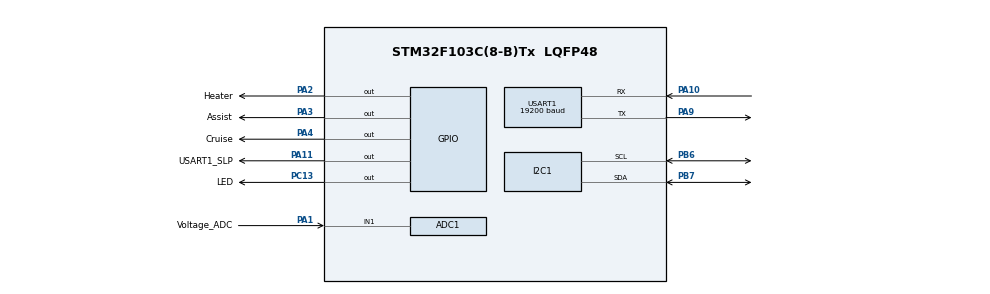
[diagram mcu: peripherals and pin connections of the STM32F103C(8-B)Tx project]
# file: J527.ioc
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ADC1.Channel-0\#ChannelRegularConversion=ADC_CHANNEL_1
ADC1.ContinuousConvMode=DISABLE
ADC1.NbrOfConversion=1
ADC1.NbrOfConversionFlag=1
ADC1.Rank-0\#ChannelRegularConversion=1
ADC1.SamplingTime-0\#ChannelRegularConversion=ADC_SAMPLETIME_239CYCLES_5
ADC1.master=1
Dma.ADC1.0.Direction=DMA_PERIPH_TO_MEMORY
Dma.ADC1.0.Instance=DMA1_Channel1
Dma.ADC1.0.MemDataAlignment=DMA_MDATAALIGN_HALFWORD
Dma.ADC1.0.MemInc=DMA_MINC_ENABLE
Dma.ADC1.0.Mode=DMA_NORMAL
Dma.ADC1.0.PeriphDataAlignment=DMA_PDATAALIGN_HALFWORD
Dma.ADC1.0.PeriphInc=DMA_PINC_DISABLE
Dma.ADC1.0.Priority=DMA_PRIORITY_LOW
Dma.Request0=ADC1
IWDG.Prescaler=IWDG_PRESCALER_32
IWDG.Reload=1000
Mcu.Family=STM32F1
Mcu.Name=STM32F103C(8-B)Tx
Mcu.Package=LQFP48
NVIC.ADC1_2_IRQn=true\:0\:0\:false\:false\:true\:true\:true\:true
NVIC.DMA1_Channel1_IRQn=true\:0\:0\:false\:false\:true\:false\:true\:true
NVIC.PriorityGroup=NVIC_PRIORITYGROUP_4
NVIC.TIM3_IRQn=true\:0\:0\:false\:false\:true\:true\:true\:true
NVIC.USART1_IRQn=true\:0\:0\:false\:false\:true\:true\:true\:true
PA1.GPIO_Label=Voltage_ADC
PA1.Signal=ADCx_IN1
PA10.Mode=LIN
PA10.Signal=USART1_RX
PA11.GPIO_Label=USART1_SLP
PA11.Signal=GPIO_Output
PA13.Signal=SYS_JTMS-SWDIO
PA2.GPIO_Label=Heater
PA2.Signal=GPIO_Output
PA3.GPIO_Label=Assist
PA3.Signal=GPIO_Output
PA4.GPIO_Label=Cruise
PA4.Signal=GPIO_Output
PA9.Mode=LIN
PA9.Signal=USART1_TX
PB6.Mode=I2C
PB6.Signal=I2C1_SCL
PB7.Mode=I2C
PB7.Signal=I2C1_SDA
PC13-TAMPER-RTC.GPIO_Label=LED
PC13-TAMPER-RTC.Signal=GPIO_Output
ProjectManager.HeapSize=0x200
ProjectManager.StackSize=0x400
ProjectManager.TargetToolchain=MDK-ARM V5.32
RCC.APB1Freq_Value=8000000
RCC.APB2Freq_Value=8000000
SH.ADCx_IN1.0=ADC1_IN1,IN1
TIM3.Period=1000
TIM3.Prescaler=79
USART1.BaudRate=19200
USART1.BreakDetectLength=UART_LINBREAKDETECTLENGTH_11B
USART1.VirtualMode=VM_ASYNC
VP_IWDG_VS_IWDG.Mode=IWDG_Activate
VP_SYS_VS_ND.Mode=No_Debug
VP_TIM3_VS_ClockSourceINT.Mode=Internal
board=custom

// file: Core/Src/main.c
/* USER CODE BEGIN Header */
/**
  ******************************************************************************
  * @file           : main.c
  * @brief          : Main program body
  ******************************************************************************
  * @attention
  *
  * Copyright (c) 2023 STMicroelectronics.
  * All rights reserved.
  *
  * This software is licensed under terms that can be found in the LICENSE file
  * in the root directory of this software component.
  * If no LICENSE file comes with this software, it is provided AS-IS.
  *
  ******************************************************************************
  */

	//Voltage = ADC * 0.0064 - 1.4351
/* USER CODE END Header */
#include "main.h"

ADC_HandleTypeDef hadc1;
DMA_HandleTypeDef hdma_adc1;

I2C_HandleTypeDef hi2c1;

IWDG_HandleTypeDef hiwdg;

TIM_HandleTypeDef htim3;

UART_HandleTypeDef huart1;

/* USER CODE BEGIN PV */
uint16_t adcData[1];
float voltage = 0.0;

uint8_t voltageState = 0;
uint8_t assistState = 0;
uint8_t cruiseState = 0;
uint8_t heaterState = 0;
uint8_t heaterPreviousState = 0;

uint8_t measurement = 0;
uint16_t adcValues[MEAS_NUM];

uint8_t heaterRequest = 0;

uint8_t buttonData[9];

uint8_t readData[1];
uint8_t writeData[1];

uint16_t devAddr = (0x50 << 1);
uint16_t memAddr = 0x0000;
HAL_StatusTypeDef status;
/* USER CODE END PV */

void SystemClock_Config(void);
static void MX_GPIO_Init(void);
static void MX_DMA_Init(void);
static void MX_ADC1_Init(void);
static void MX_I2C1_Init(void);
static void MX_USART1_UART_Init(void);
static void MX_TIM3_Init(void);
static void MX_IWDG_Init(void);
/* USER CODE BEGIN PFP */
void writePins(void);
/* USER CODE END PFP */

/* USER CODE BEGIN 0 */
LIN_State slaveState = LIN_RECEIVING_BREAK;
/* USER CODE END 0 */

int main(void)
{

  /* MCU Configuration--------------------------------------------------------*/

  /* Reset of all peripherals, Initializes the Flash interface and the Systick. */
  HAL_Init();

  /* Configure the system clock */
  SystemClock_Config();

  /* Initialize all configured peripherals */
  MX_GPIO_Init();
  MX_DMA_Init();
  MX_ADC1_Init();
  MX_I2C1_Init();
  MX_USART1_UART_Init();
  MX_TIM3_Init();
  MX_IWDG_Init();
  /* USER CODE BEGIN 2 */
	HAL_TIM_Base_Start_IT(&htim3);
	HAL_ADC_Start_DMA(&hadc1, (uint32_t*)adcData, 1);

	HAL_GPIO_WritePin(USART1_SLP_GPIO_Port, USART1_SLP_Pin, GPIO_PIN_SET);

	__HAL_UART_ENABLE_IT(&huart1, UART_IT_LBD);

	uint8_t tempReadData[1];
	HAL_I2C_Mem_Read(&hi2c1, devAddr, memAddr, I2C_MEMADD_SIZE_16BIT, (uint8_t*)tempReadData, 1, HAL_MAX_DELAY);
	heaterRequest = tempReadData[0];

  /* USER CODE END 2 */

  /* Infinite loop */
  /* USER CODE BEGIN WHILE */
  while (1)
  {
	writePins();
    /* USER CODE END WHILE */

  }
}

void SystemClock_Config(void)
{
  RCC_OscInitTypeDef RCC_OscInitStruct = {0};
  RCC_ClkInitTypeDef RCC_ClkInitStruct = {0};
  RCC_PeriphCLKInitTypeDef PeriphClkInit = {0};

  /** Initializes the RCC Oscillators according to the specified parameters
  * in the RCC_OscInitTypeDef structure.
  */
  RCC_OscInitStruct.OscillatorType = RCC_OSCILLATORTYPE_HSI|RCC_OSCILLATORTYPE_LSI;
  RCC_OscInitStruct.HSIState = RCC_HSI_ON;
  RCC_OscInitStruct.HSICalibrationValue = RCC_HSICALIBRATION_DEFAULT;
  RCC_OscInitStruct.LSIState = RCC_LSI_ON;
  RCC_OscInitStruct.PLL.PLLState = RCC_PLL_NONE;
  if (HAL_RCC_OscConfig(&RCC_OscInitStruct) != HAL_OK)
  {
    Error_Handler();
  }

  /** Initializes the CPU, AHB and APB buses clocks
  */
  RCC_ClkInitStruct.ClockType = RCC_CLOCKTYPE_HCLK|RCC_CLOCKTYPE_SYSCLK
                              |RCC_CLOCKTYPE_PCLK1|RCC_CLOCKTYPE_PCLK2;
  RCC_ClkInitStruct.SYSCLKSource = RCC_SYSCLKSOURCE_HSI;
  RCC_ClkInitStruct.AHBCLKDivider = RCC_SYSCLK_DIV1;
  RCC_ClkInitStruct.APB1CLKDivider = RCC_HCLK_DIV1;
  RCC_ClkInitStruct.APB2CLKDivider = RCC_HCLK_DIV1;

  if (HAL_RCC_ClockConfig(&RCC_ClkInitStruct, FLASH_LATENCY_0) != HAL_OK)
  {
    Error_Handler();
  }
  PeriphClkInit.PeriphClockSelection = RCC_PERIPHCLK_ADC;
  PeriphClkInit.AdcClockSelection = RCC_ADCPCLK2_DIV2;
  if (HAL_RCCEx_PeriphCLKConfig(&PeriphClkInit) != HAL_OK)
  {
    Error_Handler();
  }
}

static void MX_ADC1_Init(void)
{

  ADC_ChannelConfTypeDef sConfig = {0};

  /** Common config
  */
  hadc1.Instance = ADC1;
  hadc1.Init.ScanConvMode = ADC_SCAN_DISABLE;
  hadc1.Init.ContinuousConvMode = DISABLE;
  hadc1.Init.DiscontinuousConvMode = DISABLE;
  hadc1.Init.ExternalTrigConv = ADC_SOFTWARE_START;
  hadc1.Init.DataAlign = ADC_DATAALIGN_RIGHT;
  hadc1.Init.NbrOfConversion = 1;
  if (HAL_ADC_Init(&hadc1) != HAL_OK)
  {
    Error_Handler();
  }

  /** Configure Regular Channel
  */
  sConfig.Channel = ADC_CHANNEL_1;
  sConfig.Rank = ADC_REGULAR_RANK_1;
  sConfig.SamplingTime = ADC_SAMPLETIME_239CYCLES_5;
  if (HAL_ADC_ConfigChannel(&hadc1, &sConfig) != HAL_OK)
  {
    Error_Handler();
  }

}

static void MX_I2C1_Init(void)
{

  hi2c1.Instance = I2C1;
  hi2c1.Init.ClockSpeed = 100000;
  hi2c1.Init.DutyCycle = I2C_DUTYCYCLE_2;
  hi2c1.Init.OwnAddress1 = 0;
  hi2c1.Init.AddressingMode = I2C_ADDRESSINGMODE_7BIT;
  hi2c1.Init.DualAddressMode = I2C_DUALADDRESS_DISABLE;
  hi2c1.Init.OwnAddress2 = 0;
  hi2c1.Init.GeneralCallMode = I2C_GENERALCALL_DISABLE;
  hi2c1.Init.NoStretchMode = I2C_NOSTRETCH_DISABLE;
  if (HAL_I2C_Init(&hi2c1) != HAL_OK)
  {
    Error_Handler();
  }

}

static void MX_IWDG_Init(void)
{

  hiwdg.Instance = IWDG;
  hiwdg.Init.Prescaler = IWDG_PRESCALER_32;
  hiwdg.Init.Reload = 1000;
  if (HAL_IWDG_Init(&hiwdg) != HAL_OK)
  {
    Error_Handler();
  }

}

static void MX_TIM3_Init(void)
{

  TIM_ClockConfigTypeDef sClockSourceConfig = {0};
  TIM_MasterConfigTypeDef sMasterConfig = {0};

  htim3.Instance = TIM3;
  htim3.Init.Prescaler = 79;
  htim3.Init.CounterMode = TIM_COUNTERMODE_UP;
  htim3.Init.Period = 1000;
  htim3.Init.ClockDivision = TIM_CLOCKDIVISION_DIV1;
  htim3.Init.AutoReloadPreload = TIM_AUTORELOAD_PRELOAD_DISABLE;
  if (HAL_TIM_Base_Init(&htim3) != HAL_OK)
  {
    Error_Handler();
  }
  sClockSourceConfig.ClockSource = TIM_CLOCKSOURCE_INTERNAL;
  if (HAL_TIM_ConfigClockSource(&htim3, &sClockSourceConfig) != HAL_OK)
  {
    Error_Handler();
  }
  sMasterConfig.MasterOutputTrigger = TIM_TRGO_RESET;
  sMasterConfig.MasterSlaveMode = TIM_MASTERSLAVEMODE_DISABLE;
  if (HAL_TIMEx_MasterConfigSynchronization(&htim3, &sMasterConfig) != HAL_OK)
  {
    Error_Handler();
  }

}

static void MX_USART1_UART_Init(void)
{

  huart1.Instance = USART1;
  huart1.Init.BaudRate = 19200;
  huart1.Init.WordLength = UART_WORDLENGTH_8B;
  huart1.Init.StopBits = UART_STOPBITS_1;
  huart1.Init.Parity = UART_PARITY_NONE;
  huart1.Init.Mode = UART_MODE_TX_RX;
  huart1.Init.HwFlowCtl = UART_HWCONTROL_NONE;
  if (HAL_LIN_Init(&huart1, UART_LINBREAKDETECTLENGTH_11B) != HAL_OK)
  {
    Error_Handler();
  }

}

static void MX_DMA_Init(void)
{

  /* DMA controller clock enable */
  __HAL_RCC_DMA1_CLK_ENABLE();

  /* DMA interrupt init */
  /* DMA1_Channel1_IRQn interrupt configuration */
  HAL_NVIC_SetPriority(DMA1_Channel1_IRQn, 0, 0);
  HAL_NVIC_EnableIRQ(DMA1_Channel1_IRQn);

}

static void MX_GPIO_Init(void)
{
  GPIO_InitTypeDef GPIO_InitStruct = {0};

  /* GPIO Ports Clock Enable */
  __HAL_RCC_GPIOC_CLK_ENABLE();
  __HAL_RCC_GPIOA_CLK_ENABLE();
  __HAL_RCC_GPIOB_CLK_ENABLE();

  /*Configure GPIO pin Output Level */
  HAL_GPIO_WritePin(LED_GPIO_Port, LED_Pin, GPIO_PIN_RESET);

  /*Configure GPIO pin Output Level */
  HAL_GPIO_WritePin(GPIOA, Heater_Pin|Assist_Pin|Cruise_Pin|USART1_SLP_Pin, GPIO_PIN_RESET);

  /*Configure GPIO pin : LED_Pin */
  GPIO_InitStruct.Pin = LED_Pin;
  GPIO_InitStruct.Mode = GPIO_MODE_OUTPUT_PP;
  GPIO_InitStruct.Pull = GPIO_NOPULL;
  GPIO_InitStruct.Speed = GPIO_SPEED_FREQ_LOW;
  HAL_GPIO_Init(LED_GPIO_Port, &GPIO_InitStruct);

  /*Configure GPIO pins : Heater_Pin Assist_Pin Cruise_Pin USART1_SLP_Pin */
  GPIO_InitStruct.Pin = Heater_Pin|Assist_Pin|Cruise_Pin|USART1_SLP_Pin;
  GPIO_InitStruct.Mode = GPIO_MODE_OUTPUT_PP;
  GPIO_InitStruct.Pull = GPIO_NOPULL;
  GPIO_InitStruct.Speed = GPIO_SPEED_FREQ_LOW;
  HAL_GPIO_Init(GPIOA, &GPIO_InitStruct);

}

/* USER CODE BEGIN 4 */
void HAL_ADC_ConvCpltCallback(ADC_HandleTypeDef* hadc)
{
  if(hadc->Instance == ADC1)
  {
		adcValues[measurement] = HAL_ADC_GetValue(&hadc1);

		if (measurement < MEAS_NUM - 1)
		{
			measurement++;
		}

		else
		{
			uint32_t sum = 0;
			for (int i = 0; i < MEAS_NUM; i++)
			{
				sum += (uint32_t)adcValues[i];
			}
			voltage = sum / MEAS_NUM * 0.0064 - 1.3651;
			measurement = 0;
		}
			if (voltage > enableVoltage)
				{
					voltageState = 1;
				}

			if (voltage < disableVoltage)
			{
				voltageState = 0;
			}
		}
  }

void HAL_TIM_PeriodElapsedCallback(TIM_HandleTypeDef *htim)
{
    if (htim->Instance == TIM3)
    {
        HAL_ADC_Start_DMA(&hadc1, (uint32_t*)adcData, 1);
    }
}

void writePins(void)
{
	if (cruiseState)
	{
		HAL_GPIO_WritePin(Cruise_GPIO_Port, Cruise_Pin, GPIO_PIN_SET);
	} else
	{
		HAL_GPIO_WritePin(Cruise_GPIO_Port, Cruise_Pin, GPIO_PIN_RESET);
	}

	if (assistState)
	{
		HAL_GPIO_WritePin(Assist_GPIO_Port, Assist_Pin, GPIO_PIN_SET);
	} else
	{
		HAL_GPIO_WritePin(Assist_GPIO_Port, Assist_Pin, GPIO_PIN_RESET);
	}

	if (heaterRequest && voltageState)
	{
		HAL_GPIO_WritePin(Heater_GPIO_Port, Heater_Pin, GPIO_PIN_SET);
	} else
	{
		HAL_GPIO_WritePin(Heater_GPIO_Port, Heater_Pin, GPIO_PIN_RESET);
	}
}

void decodeButtonData(void)
{
	switch(buttonData[1]) {
		case CRUISE_ID: cruiseState = 1;
										assistState = 0;
										heaterPreviousState = heaterState;
										heaterState = 0;
										break;
		case ASSIST_ID: cruiseState = 0;
										assistState = 1;
										heaterPreviousState = heaterState;
										heaterState = 0;
										break;
		case HEATER_ID: cruiseState = 0;
										assistState = 0;
										heaterPreviousState = heaterState;
										heaterState = 1;
										break;
		default: 				cruiseState = 0;
										assistState = 0;
										heaterPreviousState = heaterState;
										heaterState = 0;
										break;
	}

	if (heaterPreviousState == 1 && heaterState == 0)
	{
		if (heaterRequest == 1) { heaterRequest = 0; }
		else { heaterRequest = 1; }

		uint8_t tempWriteData[1];
		tempWriteData[0] = heaterRequest;
		HAL_I2C_Mem_Write(&hi2c1, devAddr, memAddr, I2C_MEMADD_SIZE_16BIT, (uint8_t*)tempWriteData, 1, HAL_MAX_DELAY);
		for(;;) {
        status = HAL_I2C_IsDeviceReady(&hi2c1, devAddr, 1, HAL_MAX_DELAY);
        if(status == HAL_OK)
            break;
						}
	}
}
/* USER CODE END 4 */

void Error_Handler(void)
{
  __disable_irq();
  while (1)
  {
  }
}
